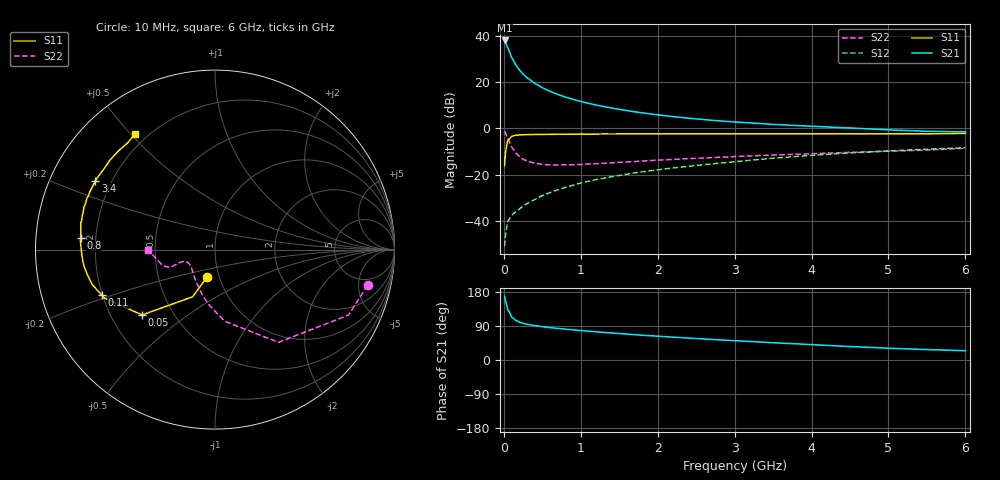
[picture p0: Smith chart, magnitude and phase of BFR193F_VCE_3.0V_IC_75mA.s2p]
! Infineon Technologies  Discrete & RF Semiconductors
! BFR193F
! VCE =  3.0 V,  IC =  75 mA
! Common Emitter S-Parameters:  Jan 2017
# GHz  S  MA  R  50
!  f  S11  S21  S12  S22
! GHz  MAG  ANG  MAG  ANG  MAG  ANG  MAG  ANG
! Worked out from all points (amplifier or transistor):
!   77 points, 10 MHz to 6 GHz, reference 50 ohm
!   highest |S21| = 38.0 dB at 10 MHz (marker M1)
!   |S21| within 3 dB of that: start of sweep to 48.75 MHz
!   unconditionally stable (mu >= 1): 522.7 MHz to 2.635 GHz
!   at 130 MHz: K = 0.62, MSG = 32.8 dB, |S12| = -36.6 dB
!   at 2.2 GHz: K = 1.02, MAG = 10.2 dB, |S12| = -17.0 dB
!   at 6 GHz: K = 0.88, MSG = 3.4 dB, |S12| = -8.3 dB
!   S11 on the Smith chart (normalised r, x): 10 MHz: 0.88, -0.27; 50 MHz: 0.33, -0.35; 110 MHz: 0.20, -0.19; 800 MHz: 0.14, +0.04; 3.4 GHz: 0.14, +0.26; 6 GHz: 0.15, +0.51
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0.01  0.1576 -106.0  79.1 168.2  0.0029 81.6  0.873 -13.2
0.02  0.2914 -115.4  74.4 156.6  0.0046 69.8  0.8288 -26.1
0.05  0.5454 -138.1  55.39 132.5  0.0096 56.3  0.6263 -55.6
0.1  0.6729 -156.4  34.36 113.6  0.0134 52.7  0.4023 -82.4
0.11  0.6797 -158.1  32.28 112.3  0.0139 53.1  0.3805 -84.8
0.15  0.7122 -164.3  24.15 105.2  0.0157 54.5  0.3023 -97.8
0.2  0.7252 -169.0  18.44 100.1  0.0181 58.8  0.2506 -108.1
0.25  0.7338 -172.3  14.87 96.8  0.0214 62.1  0.217 -117.1
0.3  0.7383 -174.4  12.48 94.4  0.0238 64.5  0.1999 -123.4
0.4  0.7422 -177.6  9.412 90.5  0.0293 67.5  0.1784 -133.3
0.5  0.7452 -179.7  7.564 87.9  0.0357 71.0  0.1683 -139.9
0.6  0.7479 178.3  6.326 85.4  0.0415 72.0  0.1642 -145.1
0.7  0.7512 176.4  5.435 83.3  0.0476 73.1  0.1637 -148.4
0.8  0.7507 175.2  4.759 81.5  0.0537 74.2  0.1647 -151.7
1.1  0.7566 171.2  3.486 76.1  0.0728 75.5  0.1722 -155.9
1.6  0.7634 165.7  2.428 68.3  0.1033 75.6  0.1899 -159.7
2.1  0.7666 161.2  1.884 61.6  0.1344 74.9  0.2116 -159.9
3.1  0.7678 152.6  1.351 49.9  0.1989 72.1  0.2519 -158.5
3.4  0.7684 150.1  1.256 46.7  0.2206 70.9  0.2637 -158.7
4.1  0.7652 143.6  1.098 39.6  0.2697 67.3  0.2894 -160.9
5.1  0.7688 133.4  0.92 30.4  0.3337 60.9  0.3276 -170.1
6  0.784 124.8  0.846 24.5  0.3841 55.0  0.3749 -179.4
